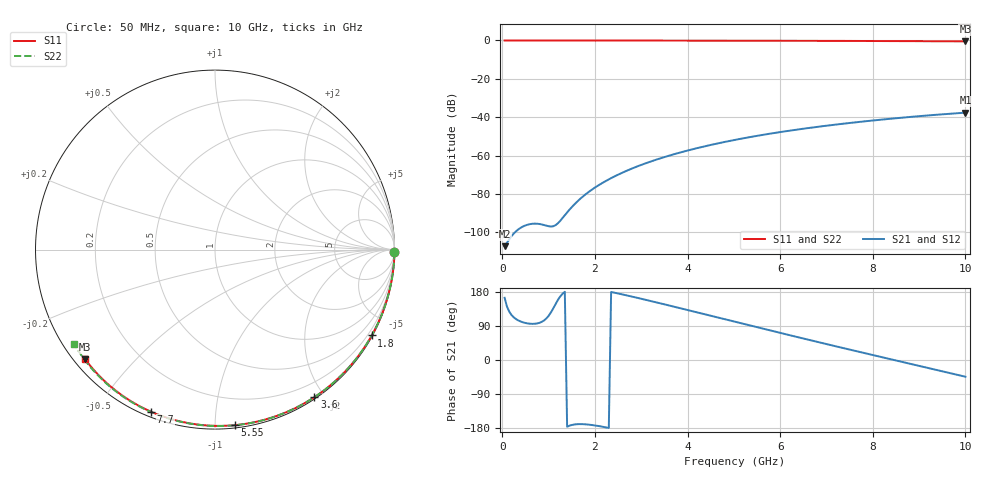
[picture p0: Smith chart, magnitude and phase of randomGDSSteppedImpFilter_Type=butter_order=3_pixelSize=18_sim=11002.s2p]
! freq	dB(S11)	phase(S11)	dB(S12)	phase(S12)
!  dB(S21)	phase(S21)	dB(S22)	phase(S22)
!S-par simulation data
#  GHz  S  DB  R 50
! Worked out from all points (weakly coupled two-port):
!   200 points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, 50 MHz to 10 GHz, reference 50 ohm
!   highest |S21| = -37.63 dB at 10 GHz (marker M1); lowest = -107.2 dB at 50 MHz (marker M2)
!   lowest |S11| = -0.5 dB at 10 GHz (marker M3), VSWR 36.61, Z = 1.55 - j18.2 ohm
!   |S11| at or under -10 dB: nowhere
!   |S22| runs from -0.5 to 0.0 dB; largest |S21 - S12| = 0
!   S11 on the Smith chart (normalised r, x): 50 MHz: open; 1.8 GHz: 0.03, -3.91; 3.6 GHz: 0.02, -1.88; 5.55 GHz: 0.02, -1.12; 7.7 GHz: 0.02, -0.68; 10 GHz: 0.03, -0.36
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0.05  -0.00 -0.8  -107.16 164.2  -107.16 164.2  -0.00 -0.9
0.45  -0.01 -7.3  -96.88 99.3  -96.88 99.3  -0.01 -7.6
0.85  -0.02 -13.7  -95.83 100.5  -95.83 100.5  -0.02 -14.4
1.3  -0.03 -20.8  -92.53 174.6  -92.53 174.6  -0.03 -21.9
1.75  -0.04 -27.9  -81.10 -169.4  -81.10 -169.4  -0.04 -29.3
1.8  -0.04 -28.7  -80.12 -169.8  -80.12 -169.8  -0.04 -30.1
2  -0.04 -31.8  -76.65 -172.7  -76.65 -172.7  -0.04 -33.4
2.15  -0.04 -34.1  -74.39 -175.7  -74.39 -175.7  -0.05 -35.8
2.5  -0.05 -39.5  -69.91 175.6  -69.91 175.6  -0.05 -41.4
2.9  -0.06 -45.6  -65.75 164.5  -65.75 164.5  -0.06 -47.8
3.4  -0.07 -53.1  -61.50 149.9  -61.50 149.9  -0.07 -55.6
3.6  -0.08 -56.0  -60.02 144.0  -60.02 144.0  -0.08 -58.7
3.9  -0.08 -60.4  -57.98 135.0  -57.98 135.0  -0.09 -63.3
4.3  -0.09 -66.2  -55.55 122.9  -55.55 122.9  -0.10 -69.3
5.05  -0.12 -76.7  -51.67 100.2  -51.67 100.2  -0.12 -80.3
5.55  -0.14 -83.5  -49.48 85.1  -49.48 85.1  -0.14 -87.4
6.1  -0.16 -90.9  -47.36 68.6  -47.36 68.6  -0.17 -95.1
6.7  -0.19 -98.7  -45.33 50.8  -45.33 50.8  -0.20 -103.3
7.7  -0.26 -111.5  -42.45 21.7  -42.45 21.7  -0.27 -116.5
8.35  -0.31 -119.6  -40.86 3.1  -40.86 3.1  -0.32 -125.0
9.2  -0.39 -130.0  -39.04 -21.2  -39.04 -21.2  -0.40 -135.9
10  -0.47 -139.9  -37.63 -44.1  -37.63 -44.1  -0.50 -146.1
